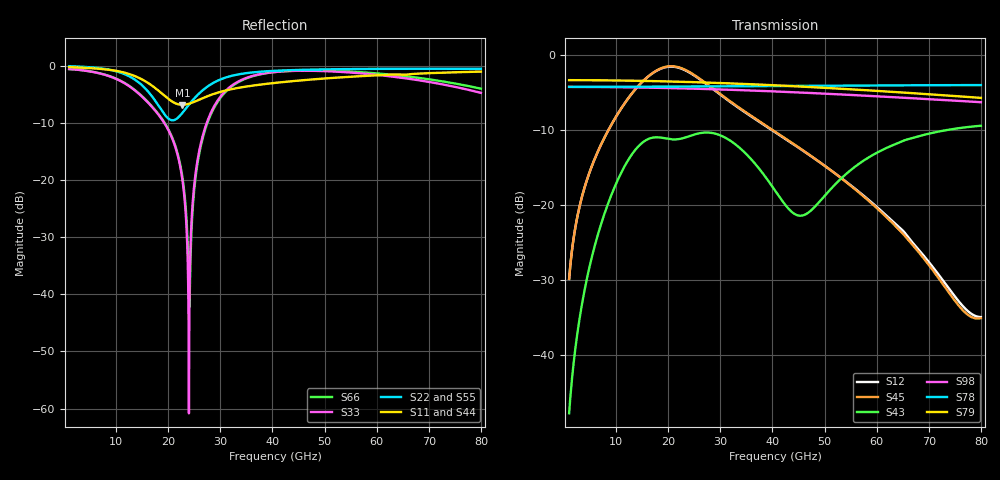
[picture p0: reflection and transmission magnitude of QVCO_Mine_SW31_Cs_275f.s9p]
! Touchstone Ver. 1.0
! Number of ports is 9
# Hz	S	RI	R	50.000000
! SCATTERING PARAMETERS  :
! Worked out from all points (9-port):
!   1001 points, 1 GHz to 80 GHz, reference 50 ohm
!   strongest paths, dB at 1 GHz, 20.75 GHz, 40.5 GHz, 60.25 GHz, 80 GHz:
!     S79: -3.4, -3.6, -4.1, -4.8, -5.8
!     S78: -4.3, -4.2, -4.2, -4.1, -4.0
!     S98: -4.3, -4.4, -4.9, -5.5, -6.3
!     S43: -47.8, -11.3, -18.1, -13.0, -9.5
!     S45: -29.9, -1.5, -10.2, -20.6, -35.1
!     S12: -29.9, -1.6, -10.3, -20.4, -35.0
!   lowest |S11| = -6.9 dB at 22.73 GHz (marker M1), VSWR 2.66, Z = 37.3 + j42.1 ohm
!   |S11| at or under -10 dB: nowhere
